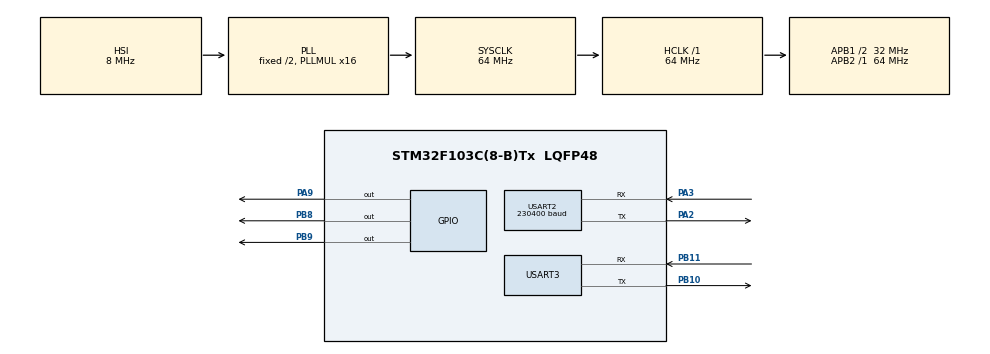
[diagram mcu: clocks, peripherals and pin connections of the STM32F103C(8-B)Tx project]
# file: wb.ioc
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Dma.Request0=USART2_TX
Dma.Request1=USART3_TX
Dma.USART2_TX.0.Direction=DMA_MEMORY_TO_PERIPH
Dma.USART2_TX.0.Instance=DMA1_Channel7
Dma.USART2_TX.0.MemDataAlignment=DMA_MDATAALIGN_BYTE
Dma.USART2_TX.0.MemInc=DMA_MINC_ENABLE
Dma.USART2_TX.0.Mode=DMA_NORMAL
Dma.USART2_TX.0.PeriphDataAlignment=DMA_PDATAALIGN_BYTE
Dma.USART2_TX.0.PeriphInc=DMA_PINC_DISABLE
Dma.USART2_TX.0.Priority=DMA_PRIORITY_MEDIUM
Dma.USART3_TX.1.Direction=DMA_MEMORY_TO_PERIPH
Dma.USART3_TX.1.Instance=DMA1_Channel2
Dma.USART3_TX.1.MemDataAlignment=DMA_MDATAALIGN_BYTE
Dma.USART3_TX.1.MemInc=DMA_MINC_ENABLE
Dma.USART3_TX.1.Mode=DMA_NORMAL
Dma.USART3_TX.1.PeriphDataAlignment=DMA_PDATAALIGN_BYTE
Dma.USART3_TX.1.PeriphInc=DMA_PINC_DISABLE
Dma.USART3_TX.1.Priority=DMA_PRIORITY_LOW
Mcu.Family=STM32F1
Mcu.Name=STM32F103C(8-B)Tx
Mcu.Package=LQFP48
NVIC.DMA1_Channel2_IRQn=true\:0\:0\:false\:false\:true\:false\:true\:true
NVIC.DMA1_Channel7_IRQn=true\:0\:0\:false\:false\:true\:false\:true\:true
NVIC.PriorityGroup=NVIC_PRIORITYGROUP_4
NVIC.TIM2_IRQn=true\:2\:0\:true\:false\:true\:true\:true\:true
NVIC.TIM3_IRQn=true\:3\:0\:true\:false\:true\:true\:true\:true
NVIC.USART2_IRQn=true\:1\:0\:true\:false\:true\:true\:true\:true
PA13.Mode=Serial_Wire
PA13.Signal=SYS_JTMS-SWDIO
PA14.Mode=Serial_Wire
PA14.Signal=SYS_JTCK-SWCLK
PA2.Mode=Asynchronous
PA2.Signal=USART2_TX
PA3.Mode=Asynchronous
PA3.Signal=USART2_RX
PA9.GPIO_ModeDefaultOutputPP=GPIO_MODE_OUTPUT_PP
PA9.GPIO_PuPd=GPIO_PULLUP
PA9.Signal=GPIO_Output
PB10.Mode=Asynchronous
PB10.Signal=USART3_TX
PB11.Mode=Asynchronous
PB11.Signal=USART3_RX
PB8.Signal=GPIO_Output
PB9.Signal=GPIO_Output
ProjectManager.HeapSize=0xFFF
ProjectManager.StackSize=0xFFFFF
ProjectManager.TargetToolchain=Makefile
RCC.AHBFreq_Value=64000000
RCC.APB1CLKDivider=RCC_HCLK_DIV2
RCC.APB1Freq_Value=32000000
RCC.APB1TimFreq_Value=64000000
RCC.APB2Freq_Value=64000000
RCC.APB2TimFreq_Value=64000000
RCC.HCLKFreq_Value=64000000
RCC.PLLMUL=RCC_PLL_MUL16
RCC.SYSCLKFreq_VALUE=64000000
RCC.SYSCLKSource=RCC_SYSCLKSOURCE_PLLCLK
RCC.USBFreq_Value=64000000
TIM2.Period=10000
TIM2.Prescaler=63
TIM3.Period=50000
TIM3.Prescaler=63
USART2.BaudRate=230400
USART2.VirtualMode=VM_ASYNC
USART3.VirtualMode=VM_ASYNC
VP_TIM2_VS_ClockSourceINT.Mode=Internal
VP_TIM3_VS_ClockSourceINT.Mode=Internal
board=custom

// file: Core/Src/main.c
/* USER CODE BEGIN Header */
/**
  ******************************************************************************
  * @file           : main.c
  * @brief          : Main program body
  ******************************************************************************
  * @attention
  *
  * Copyright (c) 2025 STMicroelectronics.
  * All rights reserved.
  *
  * This software is licensed under terms that can be found in the LICENSE file
  * in the root directory of this software component.
  * If no LICENSE file comes with this software, it is provided AS-IS.
  *
  ******************************************************************************
  */
/* USER CODE END Header */
#include "main.h"
#include "dma.h"
#include "tim.h"
#include "usart.h"
#include "gpio.h"

/* USER CODE BEGIN Includes */
#include <stdio.h>
#include <string.h>
#include "esp.h"
//#include "tb6612.h"
//#include "mpu6050.h"
#include <delay.h>
#include <math.h>

#include "ins.h"
#include "MPU6050DMP/inv_mpu.h"
#include "debug_usart.h"
#include "i2c_sim.h"
#include "keyboard.h"

//#include "BLE/atk_mw579.h"
/* USER CODE END Includes */

/* USER CODE BEGIN PV */
/*
MPU6050_HandleTypeDef MPU6050_hand; //MPU6050 句柄结构体
AttitudeEstimator attitudeEstimator;//MPU6050 姿态解算结构体
EulerAngle eulerAngle;//MPU6050 当前欧拉角*/

//从机ID
const int SLAVE_ID = 2;

//设置为0代表禁用报警功能
//设定的姿态角阈值
float pitch_th = 0;
float roll_th = 0;
float yaw_th = 0;
//加速度阈值
float a_th = 0;
//三轴合角速度阈值
float g_th = 0;

/* USER CODE END PV */

void SystemClock_Config(void);
/* USER CODE BEGIN PFP */
void MasterESPDataHandler(uint8_t conn_id, uint8_t* data, uint16_t len);
/* USER CODE END PFP */

/* USER CODE BEGIN 0 */
asm(".global _printf_float");
/* USER CODE END 0 */

int main(void)
{

  /* MCU Configuration--------------------------------------------------------*/

  /* Reset of all peripherals, Initializes the Flash interface and the Systick. */
  HAL_Init();

  /* Configure the system clock */
  SystemClock_Config();

  /* Initialize all configured peripherals */
  MX_GPIO_Init();
  MX_DMA_Init();
  MX_TIM2_Init();
  MX_USART2_UART_Init();
  MX_USART3_UART_Init();
  MX_TIM3_Init();
  /* USER CODE BEGIN 2 */
  i2cs1.Timeout = 100;
  i2cs1.SCL_GPIOx = GPIOB;
  i2cs1.SDA_GPIOx = GPIOB;
  i2cs1.SCL_GPIO_Pin = GPIO_PIN_8;
  i2cs1.SDA_GPIO_Pin = GPIO_PIN_9;
  I2C_Sim_Init(&i2cs1);

  DelayUs_Init();
  //keyboard_init();
 //mpu6050_bridge_init(&hi2c1);
  MPU6050_DMP_Init();
  /*
  uint8_t dat = 0x00;
  while(1) {
    HAL_I2C_Mem_Write(&hi2c1, 0b00001000, 0x0D , I2C_MEMADD_SIZE_8BIT , &dat, 1 ,100);
   // mpu6050_write(0x1F, 0x0D, 1, &dat);
  }*/
  //MPU6050_DMP_Init();
  HAL_UART_Transmit(&huart3,"123",sizeof("123"),100);

  float ax,ay,az,gx,gy,gz;
  HAL_UART_Transmit(&huart3,"123",sizeof("123"),100);

    delay_ms(1000);

  MPU6050_Enhanced_ReadProcessedData(&ax,&ay,&az,&gx,&gy,&gz);
  HAL_UART_Transmit(&huart3,"123",sizeof("123"),100);
  ins_init(ATTITUDE_MODE_QUATERNION,0,0,0,sqrtf(ax*ax+ay*ay+az*az));

  //串口调试初始化
  debug_usart_init(18,&huart3,500);
  float number[] ={0,1,2,3};
 // HAL_UART_Transmit(&huart3,(uint8_t*)number,sizeof(float)*4,100);
  //debug_usart_send(number);
  //启用TIM2中断（100Hz）用于更新姿态

  //ESP01 串口转WIFI模块初始化
  HAL_UART_Transmit(&huart3,"ESP01 initializing",sizeof("ESP01 initializing"),100);
  ESP01_Init(&huart2,0);
  HAL_UART_Transmit(&huart3,"ESP01 initialized",sizeof("ESP01 initialized"),100);
  //设置用来处理接收到的信息的回调函数
  ESP01_SetDataCallback(MasterESPDataHandler);

  HAL_TIM_Base_Start_IT(&htim2);
  //HAL_TIM_Base_Start_IT(&htim3);
  /* USER CODE END 2 */

  /* Infinite loop */
  while (1)
  {

  }
}

void SystemClock_Config(void)
{
  RCC_OscInitTypeDef RCC_OscInitStruct = {0};
  RCC_ClkInitTypeDef RCC_ClkInitStruct = {0};

  /** Initializes the RCC Oscillators according to the specified parameters
  * in the RCC_OscInitTypeDef structure.
  */
  RCC_OscInitStruct.OscillatorType = RCC_OSCILLATORTYPE_HSI;
  RCC_OscInitStruct.HSIState = RCC_HSI_ON;
  RCC_OscInitStruct.HSICalibrationValue = RCC_HSICALIBRATION_DEFAULT;
  RCC_OscInitStruct.PLL.PLLState = RCC_PLL_ON;
  RCC_OscInitStruct.PLL.PLLSource = RCC_PLLSOURCE_HSI_DIV2;
  RCC_OscInitStruct.PLL.PLLMUL = RCC_PLL_MUL16;
  if (HAL_RCC_OscConfig(&RCC_OscInitStruct) != HAL_OK)
  {
    Error_Handler();
  }

  /** Initializes the CPU, AHB and APB buses clocks
  */
  RCC_ClkInitStruct.ClockType = RCC_CLOCKTYPE_HCLK|RCC_CLOCKTYPE_SYSCLK
                              |RCC_CLOCKTYPE_PCLK1|RCC_CLOCKTYPE_PCLK2;
  RCC_ClkInitStruct.SYSCLKSource = RCC_SYSCLKSOURCE_PLLCLK;
  RCC_ClkInitStruct.AHBCLKDivider = RCC_SYSCLK_DIV1;
  RCC_ClkInitStruct.APB1CLKDivider = RCC_HCLK_DIV2;
  RCC_ClkInitStruct.APB2CLKDivider = RCC_HCLK_DIV1;

  if (HAL_RCC_ClockConfig(&RCC_ClkInitStruct, FLASH_LATENCY_2) != HAL_OK)
  {
    Error_Handler();
  }
}

/* USER CODE BEGIN 4 */

//NVIC中断服务函数

long long ct = 1;
void HAL_TIM_PeriodElapsedCallback(TIM_HandleTypeDef* htim) {
  //TIM2定时器中断，触发频率100Hz，用于更新姿态
  if(htim->Instance==TIM3) {

    //ESP01_ProcessReceivedData();
  }
  if(htim->Instance==TIM2) {
    //更新当前姿态
  /*
    if(ct==0)
      ct=1;
    else if(ct==1)
      ct=2;
    else if(ct==2)
      ct=3;
    else
      ct=0;*/
    ESP01_ProcessReceivedData();
    ct+=1;
    float q0,q1,q2,q3;
    float ax,ay,az,gx,gy,gz;
    float pitch,yaw,roll;
    //在大地坐标系下的三轴加速度
    float ax_g,ay_g,az_g;
    MPU6050_DMP_Get_Data_quaternion(&q0,&q1,&q2,&q3);

    /*
    MPU6050_DMP_get_accel(&ax,&ay,&az);
    ax/=10000;
    ay/=10000;
    az/=10000;
    MPU6050_DMP_get_gyro(&gx,&gy,&gz);
    */
    MPU6050_Enhanced_ReadProcessedData(&ax,&ay,&az,&gx,&gy,&gz);

    //MPU6050_DMP_Get_Data_euler(&pitch,&roll,&yaw);
    pitch = asinf(-2 * q1 * q3 + 2 * q0* q2)* 57.3;	// pitch
    roll  = atan2f(2 * q2 * q3 + 2 * q0 * q1, -2 * q1 * q1 - 2 * q2* q2 + 1)* 57.3;	// roll
    yaw   = atan2f(2*(q1*q2 + q0*q3),q0*q0+q1*q1-q2*q2-q3*q3) * 57.3;	//yaw
    ins_update_current_quaternion(q0,q1,q2,q3);
    ins_update_pos(ax,ay,az,1.0f/100);
    float posx,posy,posz;
    float vx,vy,vz;
    ins_get_position(&posx,&posy,&posz);
    ins_get_velocity(&vx,&vy,&vz);
    ins_get_acceleration_ground(&ax_g,&ay_g,&az_g);
    float data[18]={
      pitch,
      roll,
      yaw,
      ax,
      ay,
      az,
      ax_g,
      ay_g,
      az_g,
      gx,
      gy,
      gz,
      posx,
      posy,
      posz,
      vx,
      vy,
      vz
    };
    int exceedTh = 0;
    if(pitch_th!=0 && pitch>pitch_th) {
      //TODO:俯仰角超出阈值报警
      exceedTh = 1;
    }
    if(roll_th!=0 && roll>roll_th) {
      //TODO:滚转角超出阈值报警
      exceedTh = 1;
    }
    if(yaw_th!=0 && yaw>yaw_th) {
      //TODO:偏航角超出阈值报警
      exceedTh = 1;
    }
    if(a_th!=0 && sqrtf(ax*ax+ay*ay+az*az)>a_th) {
      exceedTh = 1;
      //TODO:加速度超出阈值报警
    }
    if(g_th!=0 && sqrtf(gx*gx+gy*gy+gz*gz)>g_th) {
      exceedTh = 1;
      //TODO:角速度超出阈值报警
    }
    if(exceedTh) {
      HAL_GPIO_WritePin(GPIOA,GPIO_PIN_9,GPIO_PIN_SET);
    }
    else {
      HAL_GPIO_WritePin(GPIOA,GPIO_PIN_9,GPIO_PIN_RESET);
    }
    /*
    HAL_UART_Transmit(&huart3,"pitch_th:",strlen("pitch_th:"),100);
    char buffer1[50];
    sprintf(buffer1, "%f", pitch_th);
    HAL_UART_Transmit(&huart3,buffer1,strlen(buffer1),100);
    HAL_UART_Transmit(&huart3,"yaw_th:",strlen("yaw_th:"),100);
    sprintf(buffer1, "%f", yaw_th);
    HAL_UART_Transmit(&huart3,buffer1,strlen(buffer1),100);
    HAL_UART_Transmit(&huart3,"roll_th:",strlen("roll_th:"),100);
    sprintf(buffer1, "%f", roll_th);
    HAL_UART_Transmit(&huart3,buffer1,strlen(buffer1),100);
    HAL_UART_Transmit(&huart3,"a_th:",strlen("a_th:"),100);
    sprintf(buffer1, "%f", a_th);
    HAL_UART_Transmit(&huart3,buffer1,strlen(buffer1),100);
    HAL_UART_Transmit(&huart3,"g_th:",strlen("g_th:"),100);
    sprintf(buffer1, "%f", g_th);
    HAL_UART_Transmit(&huart3,buffer1,strlen(buffer1),100);*/
    //debug_usart_send(data);//发送调试数据
    //构建数据包
    uint8_t buffer[89];
    //索引0 - 4 ： 数据包头
    memcpy(buffer,"^HEAD",5);
    //索引 5 - 8:：从机（下位机）ID,int
    memcpy(buffer+5,&SLAVE_ID,4);
    //索引 9 - 20: 欧拉角
    memcpy(buffer+9,&pitch,4);
    memcpy(buffer+13,&yaw,4);
    memcpy(buffer+17,&roll,4);
    //索引21 - 36 ：四元数
    memcpy(buffer+21,&q0,4);
    memcpy(buffer+25,&q1,4);
    memcpy(buffer+29,&q2,4);
    memcpy(buffer+33,&q3,4);
    //索引37 - 48 ：三轴加速度
    memcpy(buffer+37,&ax,4);
    memcpy(buffer+41,&ay,4);
    memcpy(buffer+45,&az,4);
    //索引49 - 57 ：三轴速度
    memcpy(buffer+49,&vx,4);
    memcpy(buffer+53,&vy,4);
    memcpy(buffer+57,&vz,4);
    //索引61 - 72：位置
    memcpy(buffer+61,&posx,4);
    memcpy(buffer+65,&posy,4);
    memcpy(buffer+69,&posz,4);
    //索引73 - 84：三轴角速度
    memcpy(buffer+73,&gx,4);
    memcpy(buffer+77,&gy,4);
    memcpy(buffer+81,&gz,4);
    //索引85 - 88：数据包尾
    memcpy(buffer+85,"^END",4);
    if(1) {
      ESP01_SendTCPData(0,buffer,89);
    }
  }

}
//自定义的主机的接+IPD消息处理函数
void MasterESPDataHandler(uint8_t conn_id, uint8_t* data, uint16_t len){
  //设定阈值的数据包格式：
  /*
   * ^HEAD 数据包头
   * 姿态角阈值：
   * pitch_th 4bytes(float)
   * yaw_th 4bytes(float)
   * roll_th  4bytes(float)
   * 速度阈值：
   * v_th  4bytes(float)
   * 角速度阈值：
   * g_th  4bytes(float)
   */
  //HAL_UART_Transmit(&huart3,"接收到原始数据如下：",sizeof("接收到原始数据如下："),150);
  //HAL_UART_Transmit(&huart3,data,len,150);
  char* loc = strstr((char*)data,"^HEAD");
  if(loc != NULL) {
    loc+=5;//指针移动到^HEAD的数据包头标记的后面
    //更新角度阈值
    memcpy(&pitch_th,loc,4);
    memcpy(&roll_th,loc+4,4);
    memcpy(&yaw_th,loc+8,4);
    memcpy(&a_th,loc+12,4);
    memcpy(&g_th,loc+16,4);

    HAL_UART_Transmit(&huart3,"pitch_th:",strlen("pitch_th:"),100);
    char buffer1[50];
    sprintf(buffer1, "%f", pitch_th);
    HAL_UART_Transmit(&huart3,buffer1,strlen(buffer1),100);
    HAL_UART_Transmit(&huart3,"yaw_th:",strlen("yaw_th:"),100);
    sprintf(buffer1, "%f", yaw_th);
    HAL_UART_Transmit(&huart3,buffer1,strlen(buffer1),100);
    HAL_UART_Transmit(&huart3,"roll_th:",strlen("roll_th:"),100);
    sprintf(buffer1, "%f", roll_th);
    HAL_UART_Transmit(&huart3,buffer1,strlen(buffer1),100);
    HAL_UART_Transmit(&huart3,"a_th:",strlen("a_th:"),100);
    sprintf(buffer1, "%f", a_th);
    HAL_UART_Transmit(&huart3,buffer1,strlen(buffer1),100);
    HAL_UART_Transmit(&huart3,"g_th:",strlen("g_th:"),100);
    sprintf(buffer1, "%f", g_th);
    HAL_UART_Transmit(&huart3,buffer1,strlen(buffer1),100);
  }
  else {
    //指针解引用错误，未找到数据包头
    HAL_UART_Transmit(&huart3,"ERROR:CANNOT PARSE RECEIVED PACKET:^HEAD NOT FOUND",sizeof("ERROR:CANNOT PARSE RECEIVED PACKET:^HEAD NOT FOUND"),100);
  }
}
/* USER CODE END 4 */

void Error_Handler(void)
{
  __disable_irq();
  while (1)
  {
  }
}
